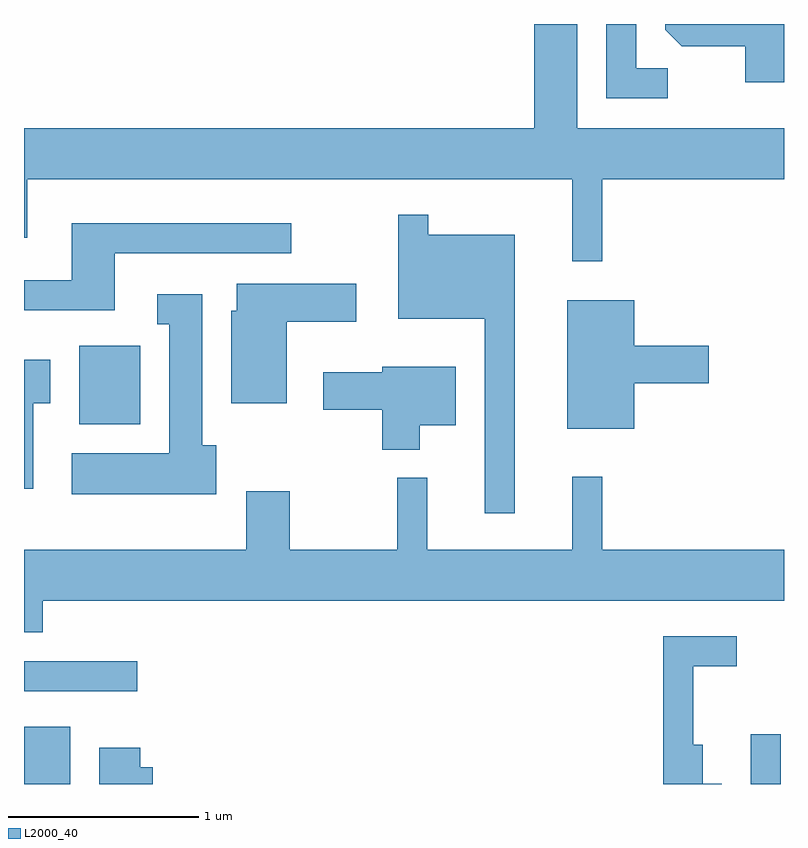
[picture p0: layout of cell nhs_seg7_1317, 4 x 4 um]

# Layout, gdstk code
import gdstk
lib = gdstk.Library(unit=1e-6, precision=1e-09)
def R(c, l, rs):  # rectangles x0, y0, x1, y1
    for r in rs: c.add(gdstk.rectangle(r[:2], r[2:], *l))
def P(c, l, *ps):  # polygons
    for p in ps: c.add(gdstk.Polygon(p, *l))
L2000_40 = (2000, 40)

nhs_seg7_1317 = lib.new_cell('nhs_seg7_1317')
R(nhs_seg7_1317, L2000_40, [(225.611,1702.252,225.854,1702.554), (229.436,1702.252,229.594,1702.513), (225.611,1702.741,226.208,1702.899), (225.901,1704.146,226.224,1704.559)])
P(nhs_seg7_1317, L2000_40, [(228.654,1705.436),(229.611,1705.436),(229.611,1705.704),(228.524,1705.704),(228.524,1706.252),(228.296,1706.252),(228.296,1705.704),(225.611,1705.704),(225.611,1705.126),(225.629,1705.126),(225.629,1705.436),(228.496,1705.436),(228.496,1705.003),(228.654,1705.003)],
  [(228.998,1706.019),(228.834,1706.019),(228.834,1706.252),(228.676,1706.252),(228.676,1705.861),(228.998,1705.861)],
  [(229.611,1706.252),(228.986,1706.252),(228.986,1706.222),(229.072,1706.136),(229.406,1706.136),(229.406,1705.946),(229.611,1705.946)],
  [(228.194,1705.144),(227.739,1705.144),(227.739,1705.248),(227.581,1705.248),(227.581,1704.701),(228.036,1704.701),(228.036,1703.678),(228.194,1703.678)],
  [(226.089,1705.046),(227.018,1705.046),(227.018,1705.204),(225.861,1705.204),(225.861,1704.904),(225.611,1704.904),(225.611,1704.746),(226.089,1704.746)],
  [(226.994,1704.686),(227.359,1704.686),(227.359,1704.884),(226.731,1704.884),(226.731,1704.744),(226.701,1704.744),(226.701,1704.256),(226.994,1704.256)],
  [(226.624,1704.034),(226.549,1704.034),(226.549,1704.829),(226.313,1704.829),(226.313,1704.671),(226.376,1704.671),(226.376,1703.994),(225.861,1703.994),(225.861,1703.776),(226.624,1703.776)],
  [(228.824,1704.361),(229.214,1704.361),(229.214,1704.559),(228.824,1704.559),(228.824,1704.799),(228.471,1704.799),(228.471,1704.121),(228.824,1704.121)],
  [(225.659,1704.256),(225.749,1704.256),(225.749,1704.484),(225.611,1704.484),(225.611,1703.806),(225.659,1703.806)],
  [(227.694,1704.141),(227.884,1704.141),(227.884,1704.449),(227.496,1704.449),(227.496,1704.419),(227.186,1704.419),(227.186,1704.221),(227.496,1704.221),(227.496,1704.011),(227.694,1704.011)],
  [(225.709,1703.216),(229.611,1703.216),(229.611,1703.484),(228.654,1703.484),(228.654,1703.868),(228.496,1703.868),(228.496,1703.484),(227.734,1703.484),(227.734,1703.863),(227.576,1703.863),(227.576,1703.484),(227.009,1703.484),(227.009,1703.794),(226.781,1703.794),(226.781,1703.484),(225.611,1703.484),(225.611,1703.051),(225.709,1703.051)],
  [(229.284,1702.254),(229.184,1702.254),(229.184,1702.459),(229.134,1702.459),(229.134,1702.871),(229.363,1702.871),(229.363,1703.029),(228.976,1703.029),(228.976,1702.252),(229.284,1702.252)],
  [(226.289,1702.339),(226.224,1702.339),(226.224,1702.444),(226.006,1702.444),(226.006,1702.252),(226.289,1702.252)])

lib.write_gds('nhs_seg7_1317.gds')
